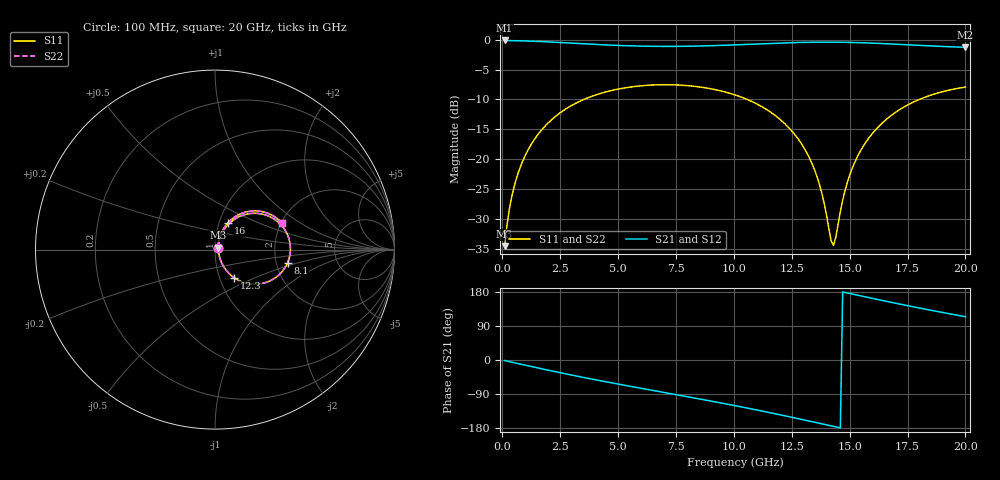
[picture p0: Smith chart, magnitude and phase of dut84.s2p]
! Touchstone file exported from HFSS 2026.1.0
!  File:  C:/ffzhzh/LocalFiles/Ansys_Project_Files/temp_train_TSV_RDL_84_1782972137_45568.aedt
!  Generated:  02:10:35 PM Jul  2, 2026
!  Design:  TSV_RDL
!  Project:  temp_train_TSV_RDL_84_1782972137_45568
! Variables:
!  h_bsmrdl = 5.49um
!  h_ox = 20um
!  h_rdl = 5um
!  h_sub = 95.95um
!  h_tmrdl = 4.75um
!  h_tsv = 95.95um
!  h_via = 3um
!  l_bsmrdl = 602.39um
!  l_sub = 3852.37um
!  l_tmrdl = 384.96um
!  m_sub = 200um
!  pitch = 40.47um
!  r_tsv = 11.11um
!  s_tmrdl = 10um
!  w_bsmrdl = 16.39um
!  w_sub = 500um
!  w_tmrdl = 18.73um
!  x_tsv_center1 = 394.325um
!  x_tsv_center2 = 1013.105um
!  x_tsv_center3 = 1416.795um
!  x_tsv_center4 = 2035.575um
!  x_tsv_center5 = 2439.265um
!  x_tsv_center6 = 3058.045um
# GHz S MA R 50.000000
! Terminal data exported
! Port[1] = TM_RDL1_1_T1
! Port[2] = TM_RDL5_1_T1
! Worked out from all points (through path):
!   200 points, 100 MHz to 20 GHz, reference 50 ohm
!   highest |S21| = -0.13 dB at 100 MHz (marker M1); lowest = -1.3 dB at 20 GHz (marker M2)
!   group delay of S21, straight-line fit = 33.9 ps
!   lowest |S11| = -34.5 dB at 100 MHz (marker M3), VSWR 1.04, Z = 51.5 + j1.18 ohm
!   |S11| at or under -10 dB: start of sweep to 3.521 GHz; 10.58 GHz to 18.01 GHz (7.433 GHz wide, 52 % of centre)
!   |S22| runs from -34.5 to -7.5 dB; largest |S21 - S12| = 1.6e-14
!   S11 on the Smith chart (normalised r, x): 100 MHz: 1.03, +0.02; 8.1 GHz: 2.31, -0.40; 12.3 GHz: 1.17, -0.38; 16 GHz: 1.10, +0.34; 20 GHz: 2.02, +0.71
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0.1  0.01873 37.6  0.9854 -1.4  0.9854 -1.4  0.01873 37.6
! Gamma 0 0 0 0
! Port Impedance 50 0 50 0
0.3  0.03766 60.7  0.9835 -4.2  0.9835 -4.2  0.03766 60.7
0.5  0.05785 65.9  0.9815 -7.0  0.9815 -7.0  0.05785 65.9
1.1  0.1184 65.8  0.9744 -15.2  0.9744 -15.2  0.1184 65.8
2.1  0.2117 55.9  0.9561 -28.4  0.9561 -28.4  0.2117 55.9
3.5  0.315 39.7  0.9244 -46.0  0.9244 -46.0  0.315 39.7
5.1  0.3893 21.9  0.894 -64.7  0.894 -64.7  0.3893 21.8
6.8  0.4198 3.7  0.8791 -83.6  0.8791 -83.6  0.4198 3.7
8.1  0.4111 -10.1  0.882 -98.1  0.882 -98.1  0.4111 -10.1
10.1  0.3427 -31.8  0.9063 -121.1  0.9063 -121.1  0.3427 -31.8
12.3  0.19 -55.8  0.9421 -148.5  0.9421 -148.5  0.19 -55.8
13.4  0.0896 -63.4  0.9525 -163.0  0.9525 -163.0  0.08963 -63.4
13.8  0.05194 -59.4  0.9538 -168.3  0.9538 -168.3  0.05196 -59.5
14.2  0.02081 -20.4  0.9537 -173.7  0.9537 -173.7  0.0208 -20.5
14.3  0.01901 6.9  0.9534 -175.1  0.9534 -175.1  0.01897 6.7
14.7  0.04533 62.7  0.9514 179.6  0.9514 179.6  0.04528 62.7
15  0.07319 68.6  0.949 175.6  0.949 175.6  0.07315 68.6
15.4  0.1109 68.6  0.9445 170.3  0.9445 170.3  0.1109 68.6
16  0.1657 64.2  0.9357 162.4  0.9357 162.4  0.1656 64.2
16.7  0.2247 57.2  0.923 153.4  0.923 153.4  0.2247 57.2
18.2  0.3272 40.9  0.8925 135.0  0.8925 135.0  0.3271 40.9
20  0.4013 21.6  0.8635 114.2  0.8635 114.2  0.4013 21.6
